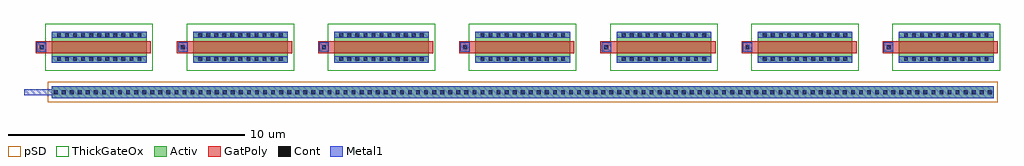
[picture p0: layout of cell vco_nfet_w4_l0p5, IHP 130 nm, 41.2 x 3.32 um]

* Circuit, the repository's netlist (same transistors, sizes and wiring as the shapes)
* extracted by klt extract --deck sg13cmos5l

* cell vco_nfet_w4_l0p5
* pin vsubs
.SUBCKT vco_nfet_w4_l0p5 vsubs
* device instance $1 r0 *1 3.3,3.11 nfet
X$1 \$16 \$2 \$3 vsubs sg13_hv_nmos L=0.5U W=4U AS=1.6P AD=1.6P PS=8.8U PD=8.8U
* device instance $2 r0 *1 9.26,3.11 nfet
X$2 \$17 \$4 \$5 vsubs sg13_hv_nmos L=0.5U W=4U AS=1.6P AD=1.6P PS=8.8U PD=8.8U
* device instance $3 r0 *1 15.22,3.11 nfet
X$3 \$18 \$6 \$7 vsubs sg13_hv_nmos L=0.5U W=4U AS=1.6P AD=1.6P PS=8.8U PD=8.8U
* device instance $4 r0 *1 21.18,3.11 nfet
X$4 \$19 \$8 \$9 vsubs sg13_hv_nmos L=0.5U W=4U AS=1.6P AD=1.6P PS=8.8U PD=8.8U
* device instance $5 r0 *1 27.14,3.11 nfet
X$5 \$20 \$10 \$11 vsubs sg13_hv_nmos L=0.5U W=4U AS=1.6P AD=1.6P PS=8.8U
+ PD=8.8U
* device instance $6 r0 *1 33.1,3.11 nfet
X$6 \$21 \$12 \$13 vsubs sg13_hv_nmos L=0.5U W=4U AS=1.6P AD=1.6P PS=8.8U
+ PD=8.8U
* device instance $7 r0 *1 39.06,3.11 nfet
X$7 \$22 \$14 \$15 vsubs sg13_hv_nmos L=0.5U W=4U AS=1.6P AD=1.6P PS=8.8U
+ PD=8.8U
.ENDS vco_nfet_w4_l0p5

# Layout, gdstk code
import gdstk
lib = gdstk.Library(unit=1e-6, precision=1e-09)
def R(c, l, rs):  # rectangles x0, y0, x1, y1
    for r in rs: c.add(gdstk.rectangle(r[:2], r[2:], *l))
def A(c, l, x, y, w, h, nx, ny, dx, dy):  # array of equal rectangles
    R(c, l, [(x+i*dx, y+j*dy, x+i*dx+w, y+j*dy+h) for i in range(nx) for j in range(ny)])
Activ = (1, 0)
GatPoly = (5, 0)
Cont = (6, 0)
Metal1 = (8, 0)
pSD = (14, 0)
ThickGateOx = (44, 0)

vco_nfet_w4_l0p5 = lib.new_cell('vco_nfet_w4_l0p5')
A(vco_nfet_w4_l0p5, Activ, 1.3, 2.46, 4, 1.3, 7, 1, 5.96, 0)
R(vco_nfet_w4_l0p5, Activ, [(1.3,0.96,41.06,1.46)])
A(vco_nfet_w4_l0p5, GatPoly, 0.62, 2.86, 0.5, 0.5, 7, 1, 5.96, 0)
A(vco_nfet_w4_l0p5, GatPoly, 1.12, 2.86, 4.36, 0.5, 7, 1, 5.96, 0)
A(vco_nfet_w4_l0p5, Cont, 1.38, 1.13, 0.16, 0.16, 117, 1, 0.34, 0)
A(vco_nfet_w4_l0p5, Cont, 1.52, 2.53, 0.16, 0.16, 11, 2, 0.34, 1)
A(vco_nfet_w4_l0p5, Cont, 7.48, 2.53, 0.16, 0.16, 11, 2, 0.34, 1)
A(vco_nfet_w4_l0p5, Cont, 13.44, 2.53, 0.16, 0.16, 11, 2, 0.34, 1)
A(vco_nfet_w4_l0p5, Cont, 19.4, 2.53, 0.16, 0.16, 11, 2, 0.34, 1)
A(vco_nfet_w4_l0p5, Cont, 25.36, 2.53, 0.16, 0.16, 11, 2, 0.34, 1)
A(vco_nfet_w4_l0p5, Cont, 31.32, 2.53, 0.16, 0.16, 11, 2, 0.34, 1)
A(vco_nfet_w4_l0p5, Cont, 37.28, 2.53, 0.16, 0.16, 11, 2, 0.34, 1)
A(vco_nfet_w4_l0p5, Cont, 0.79, 3.03, 0.16, 0.16, 7, 1, 5.96, 0)
A(vco_nfet_w4_l0p5, Metal1, 1.3, 2.46, 4, 0.26, 7, 2, 5.96, 1.04)
A(vco_nfet_w4_l0p5, Metal1, 0.67, 2.91, 0.4, 0.4, 7, 1, 5.96, 0)
R(vco_nfet_w4_l0p5, Metal1, [(1.3,0.96,41.06,1.46), (0.125,1.085,1.3,1.335)])
R(vco_nfet_w4_l0p5, pSD, [(1.12,0.78,41.24,1.64)])
A(vco_nfet_w4_l0p5, ThickGateOx, 1.03, 2.12, 4.54, 1.98, 7, 1, 5.96, 0)

lib.write_gds('vco_nfet_w4_l0p5.gds')
